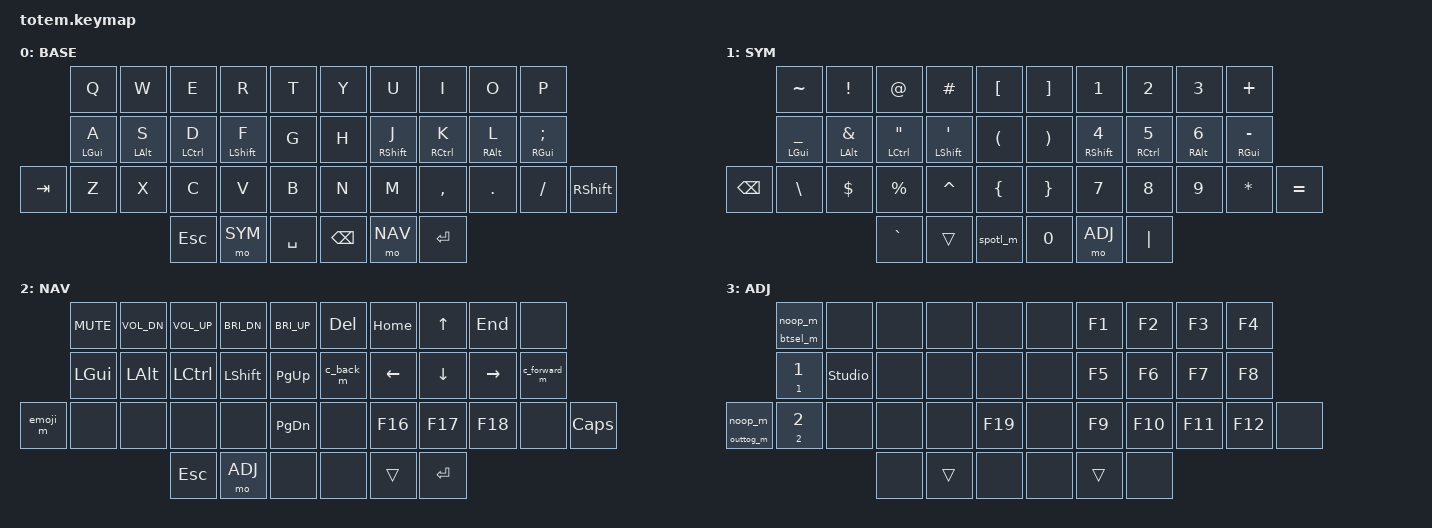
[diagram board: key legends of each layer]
#include <behaviors.dtsi>
#include <dt-bindings/zmk/bt.h>
#include <dt-bindings/zmk/keys.h>
#include <dt-bindings/zmk/outputs.h>

#define BASE 0
#define SYM  1
#define NAV  2
#define ADJ  3

&mt {
    flavor = "tap-preferred";
    tapping-term-ms = <250>;
    require-prior-idle-ms = <125>;
};

/ {
	macros {
		c_back_m: c_back_m {
			compatible = "zmk,behavior-macro";
			#binding-cells = <0>;
			bindings
				= <&macro_press   &kp LCTRL>
				, <&macro_tap     &kp MINUS>
				, <&macro_release &kp LCTRL>
				;
		};
		c_forward_m: c_forward_m {
			compatible = "zmk,behavior-macro";
			#binding-cells = <0>;
			bindings
				= <&macro_press   &kp LCTRL &kp LSHFT>
				, <&macro_tap     &kp MINUS>
				, <&macro_release &kp LSHFT &kp LCTRL>
				;
		};
		spotl_m: spotl_m {
			compatible = "zmk,behavior-macro";
			#binding-cells = <0>;
			bindings 
				= <&macro_press   &kp LGUI>
				, <&macro_tap     &kp SPACE>
				, <&macro_release &kp LGUI>
				;
		};
		emoji_m: emoji_m {
			compatible = "zmk,behavior-macro";
			#binding-cells = <0>;
			bindings
				= <&macro_press   &kp LCTRL &kp LGUI>
				, <&macro_tap     &kp SPACE>
				, <&macro_release &kp LCTRL &kp LGUI>
				;
		};
		noop_m: noop_m {
			compatible = "zmk,behavior-macro";
			#binding-cells = <0>;
			bindings = <&none>;
		};
		btclr_m: btclr_m {
			compatible = "zmk,behavior-macro";
			#binding-cells = <0>;
			bindings = <&bt BT_CLR>;
		};
		btsel_m: btsel_m {
			compatible = "zmk,behavior-macro-one-param";
			#binding-cells = <1>;
			bindings
				= <&macro_param_1to2>
				, <&bt BT_SEL MACRO_PLACEHOLDER>
				;
		};
		outtog_m: outtog_m {
			compatible = "zmk,behavior-macro";
			#binding-cells = <0>;
			bindings = <&out OUT_TOG>;
		};
		soft_off_m: soft_off_m {
			compatible = "zmk,behavior-macro";
			#binding-cells = <0>;
			bindings = <&soft_off>;
		};
	};

	behaviors {
		btclr_ht: btclr_ht {
			compatible = "zmk,behavior-hold-tap";
			#binding-cells = <2>;
			tapping-term-ms = <3000>;
			flavor = "tap-preferred";
			bindings = <&btclr_m>, <&noop_m>;
		};
		btsel_ht: btsel_ht {
			compatible = "zmk,behavior-hold-tap";
			#binding-cells = <2>;
			tapping-term-ms = <3000>;
			flavor = "tap-preferred";
			bindings = <&btsel_m>, <&noop_m>;
		};
		outtog_ht: outtog_ht {
			compatible = "zmk,behavior-hold-tap";
			#binding-cells = <2>;
			tapping-term-ms = <3000>;
			flavor = "tap-preferred";
			bindings = <&outtog_m>, <&noop_m>;
		};
		soft_off_ht: soft_off_ht {
			compatible = "zmk,behavior-hold-tap";
			#binding-cells = <2>;
			tapping-term-ms = <3000>;
			flavor = "tap-preferred";
			bindings = <&soft_off_m>, <&noop_m>;
		};
	};

	combos{
		compatible = "zmk,combos";
		combo_soft_off {
			timeout-ms = <400>;
			key-positions = <14 15>;    /* G + H */
			bindings = <&soft_off_ht N0 N0>;
			slow-release;
			layers = <ADJ>;
		};
		combo_btclr{
			timeout-ms = <50>;
			key-positions = <3 4>;     /* R + T */
			bindings = <&btclr_ht N0 N0>;
			slow-release;
			layers = <ADJ>;
		};
	};
	
    keymap {
        compatible = "zmk,keymap";
// ▄▄▄▄▄▄▄▄▄▄▄▄▄▄▄▄▄▄▄▄▄▄▄▄▄▄▄▄▄▄▄▄▄▄▄▄▄▄▄▄▄▄▄▄▄▄▄▄▄▄▄▄▄▄▄▄▄▄▄▄▄▄▄▄▄▄▄▄▄▄▄▄▄▄▄▄▄▄▄▄▄▄▄▄▄▄▄▄▄▄▄▄▄▄▄▄▄▄▄▄▄▄▄▄▄▄▄▄▄▄▄▄▄▄▄▄▄▄▄▄▄▄▄▄▄▄▄▄▄▄▄▄▄▄▄▄▄▄▄▄▄▄▄▄▄▄▄▄▄▄▄▄▄▄▄▄▄▄▄▄▄▄▄▄▄

        base_layer {
// ┏━━━━━━━━━━━━━━━━━━━━━━━━━━━━━━━━━━━━━━━┓
            label= "BASE";
// ┗━━━━━━━━━━━━━━━━━━━━━━━━━━━━━━━━━━━━━━━┛
//             ┏━━━━━━━━━━━┳━━━━━━━━━━━┳━━━━━━━━━━━┳━━━━━━━━━━━━┳━━━━━━━━━━━┓   ┏━━━━━━━━━━━┳━━━━━━━━━━━━┳━━━━━━━━━━━┳━━━━━━━━━━━┳━━━━━━━━━━━━━┓
//             ┃     Q     ┃     W     ┃     E     ┃     R      ┃     T     ┃   ┃     Y     ┃     U      ┃     I     ┃     O     ┃      P      ┃
//             ┣━━━━━━━━━━━╋━━━━━━━━━━━╋━━━━━━━━━━━╋━━━━━━━━━━━━╋━━━━━━━━━━━┫   ┣━━━━━━━━━━━╋━━━━━━━━━━━━╋━━━━━━━━━━━╋━━━━━━━━━━━╋━━━━━━━━━━━━━┫
//             ┃     A     ┃     S     ┃     D     ┃     F      ┃     G     ┃   ┃     H     ┃     J      ┃     K     ┃     L     ┃     ; :     ┃
// ┏━━━━━━━━━━━╋━━━━━━━━━━━╋━━━━━━━━━━━╋━━━━━━━━━━━╋━━━━━━━━━━━━╋━━━━━━━━━━━┫   ┣━━━━━━━━━━━╋━━━━━━━━━━━━╋━━━━━━━━━━━╋━━━━━━━━━━━╋━━━━━━━━━━━━━╋━━━━━━━━━━━┓
// ┃    TAB    ┃     Z     ┃     X     ┃     C     ┃     V      ┃     B     ┃   ┃     N     ┃     M      ┃    , <    ┃    . >    ┃     / ?     ┃   SHIFT   ┃
// ┗━━━━━━━━━━━┻━━━━━━━━━━━┻━━━━━━━━━━━╋━━━━━━━━━━━╋━━━━━━━━━━━━╋━━━━━━━━━━━┫   ┣━━━━━━━━━━━╋━━━━━━━━━━━━╋━━━━━━━━━━━╋━━━━━━━━━━━┻━━━━━━━━━━━━━┻━━━━━━━━━━━┛
//                                     ┃    ESC    ┃    SYM     ┃    SPC    ┃   ┃   BSPC    ┃    NAV     ┃    RET    ┃
//                                     ┗━━━━━━━━━━━┻━━━━━━━━━━━━┻━━━━━━━━━━━┛   ┗━━━━━━━━━━━┻━━━━━━━━━━━━┻━━━━━━━━━━━┛
            bindings = <
// ╷           ╷           ╷           ╷           ╷            ╷           ╷   ╷           ╷            ╷           ╷           ╷             ╷           ╷
                &kp Q       &kp W       &kp E       &kp R        &kp T           &kp Y       &kp U        &kp I       &kp O       &kp P       
                &mt LGUI A  &mt LALT S  &mt LCTRL D &mt LSHIFT F &kp G           &kp H       &mt RSHIFT J &mt RCTRL K &mt RALT L  &mt RGUI SEMI    
    &kp TAB     &kp Z       &kp X       &kp C       &kp V        &kp B           &kp N       &kp M        &kp COMMA   &kp DOT     &kp FSLH      &kp RSHIFT
                                        &kp ESC     &mo SYM      &kp SPACE       &kp BSPC    &mo NAV      &kp RET
            >;
        };

// ▄▄▄▄▄▄▄▄▄▄▄▄▄▄▄▄▄▄▄▄▄▄▄▄▄▄▄▄▄▄▄▄▄▄▄▄▄▄▄▄▄▄▄▄▄▄▄▄▄▄▄▄▄▄▄▄▄▄▄▄▄▄▄▄▄▄▄▄▄▄▄▄▄▄▄▄▄▄▄▄▄▄▄▄▄▄▄▄▄▄▄▄▄▄▄▄▄▄▄▄▄▄▄▄▄▄▄▄▄▄▄▄▄▄▄▄▄▄▄▄▄▄▄▄▄▄▄▄▄▄▄▄▄▄▄▄▄▄▄▄▄▄▄▄▄▄▄▄▄▄▄▄▄▄▄▄▄▄▄▄▄▄▄▄▄

        sym_layer {
// ┏━━━━━━━━━━━━━━━━━━━━━━━━━━━━━━━━━━━━━━━┓
            label= "SYM";
// ┗━━━━━━━━━━━━━━━━━━━━━━━━━━━━━━━━━━━━━━━┛
//             ┏━━━━━━━━━━━━━━┳━━━━━━━━━━━━━┳━━━━━━━━━━━━━┳━━━━━━━━━━━━━━┳━━━━━━━━━━━┓   ┏━━━━━━━━━━━┳━━━━━━━━━━━━━┳━━━━━━━━━━━━━━┳━━━━━━━━━━━┳━━━━━━━━━━━━━━┓
//             ┃      ~       ┃      !      ┃      @      ┃      #       ┃     [     ┃   ┃     ]     ┃      1      ┃      2       ┃     3     ┃      +       ┃
//             ┣━━━━━━━━━━━━━━╋━━━━━━━━━━━━━╋━━━━━━━━━━━━━╋━━━━━━━━━━━━━━╋━━━━━━━━━━━┫   ┣━━━━━━━━━━━╋━━━━━━━━━━━━━╋━━━━━━━━━━━━━━╋━━━━━━━━━━━╋━━━━━━━━━━━━━━┫
//             ┃      _       ┃      &      ┃      "      ┃      '       ┃     (     ┃   ┃     )     ┃      4      ┃      5       ┃     6     ┃      -       ┃
// ┏━━━━━━━━━━━╋━━━━━━━━━━━━━━╋━━━━━━━━━━━━━╋━━━━━━━━━━━━━╋━━━━━━━━━━━━━━╋━━━━━━━━━━━┫   ┣━━━━━━━━━━━╋━━━━━━━━━━━━━╋━━━━━━━━━━━━━━╋━━━━━━━━━━━╋━━━━━━━━━━━━━━╋━━━━━━━━━━━┓
// ┃    BSPC   ┃      \       ┃      $      ┃      %      ┃      ^       ┃     {     ┃   ┃     }     ┃      7      ┃      8       ┃     9     ┃      *       ┃     =     ┃
// ┗━━━━━━━━━━━┻━━━━━━━━━━━━━━┻━━━━━━━━━━━━━╋━━━━━━━━━━━━━╔══════════════╗━━━━━━━━━━━┫   ┣━━━━━━━━━━━╋━━━━━━━━━━━━━╋━━━━━━━━━━━━━━╋━━━━━━━━━━━┻━━━━━━━━━━━━━━┻━━━━━━━━━━━┛
//                                          ┃      `      ║      SYM     ║    SPTL   ┃   ┃     0     ┃     ADJ     ┃      |       ┃
//                                          ┗━━━━━━━━━━━━━╚══════════════╝━━━━━━━━━━━┛   ┗━━━━━━━━━━━┻━━━━━━━━━━━━━┻━━━━━━━━━━━━━━┛
            bindings = <
// ╷           ╷              ╷             ╷             ╷              ╷           ╷   ╷           ╷             ╷              ╷           ╷              ╷           ╷
                &kp TILDE      &kp EXCL      &kp AT        &kp HASH       &kp LBKT        &kp RBKT    &kp N1        &kp N2         &kp N3      &kp PLUS     
                &mt LGUI UNDER &mt LALT AMPS &mt LCTRL DQT &mt LSHIFT SQT &kp LPAR        &kp RPAR    &mt RSHIFT N4 &mt RCTRL N5   &mt RALT N6 &mt RGUI MINUS 
    &kp BSPC    &kp BSLH       &kp DLLR      &kp PRCNT     &kp CARET      &kp LBRC        &kp RBRC    &kp N7        &kp N8         &kp N9      &kp ASTRK      &kp EQUAL
                                             &kp GRAVE     &trans         &spotl_m           &kp N0      &mo ADJ       &kp PIPE
            >;
        };

// ▄▄▄▄▄▄▄▄▄▄▄▄▄▄▄▄▄▄▄▄▄▄▄▄▄▄▄▄▄▄▄▄▄▄▄▄▄▄▄▄▄▄▄▄▄▄▄▄▄▄▄▄▄▄▄▄▄▄▄▄▄▄▄▄▄▄▄▄▄▄▄▄▄▄▄▄▄▄▄▄▄▄▄▄▄▄▄▄▄▄▄▄▄▄▄▄▄▄▄▄▄▄▄▄▄▄▄▄▄▄▄▄▄▄▄▄▄▄▄▄▄▄▄▄▄▄▄▄▄▄▄▄▄▄▄▄▄▄▄▄▄▄▄▄▄▄▄▄▄▄▄▄▄▄▄▄▄▄▄▄▄▄▄▄▄

        nav_layer {
// ┏━━━━━━━━━━━━━━━━━━━━━━━━━━━━━━━━━━━━━━━┓
            label= "NAV";
// ┗━━━━━━━━━━━━━━━━━━━━━━━━━━━━━━━━━━━━━━━┛
//             ┏━━━━━━━━━━━┳━━━━━━━━━━━━┳━━━━━━━━━━━━┳━━━━━━━━━━━━┳━━━━━━━━━━━━┓   ┏━━━━━━━━━━━━┳━━━━━━━━━━━━┳━━━━━━━━━━━┳━━━━━━━━━━━━┳━━━━━━━━━━━━┓
//             ┃    MUTE   ┃    VOL-    ┃    VOL+    ┃    BRI-    ┃    BRI+    ┃   ┃     DEL    ┃    HOME    ┃     UP    ┃     END    ┃            ┃
//             ┣━━━━━━━━━━━╋━━━━━━━━━━━━╋━━━━━━━━━━━━╋━━━━━━━━━━━━╋━━━━━━━━━━━━┫   ┣━━━━━━━━━━━━╋━━━━━━━━━━━━╋━━━━━━━━━━━╋━━━━━━━━━━━━╋━━━━━━━━━━━━┫
//             ┃    GUI    ┃    ALT     ┃    CTRL    ┃    SHIFT   ┃    PGUP    ┃   ┃    CBACK   ┃    LEFT    ┃    DOWN   ┃    RIGHT   ┃  CFORWARD  ┃
// ┏━━━━━━━━━━━╋━━━━━━━━━━━╋━━━━━━━━━━━━╋━━━━━━━━━━━━╋━━━━━━━━━━━━╋━━━━━━━━━━━━┫   ┣━━━━━━━━━━━━╋━━━━━━━━━━━━╋━━━━━━━━━━━╋━━━━━━━━━━━━╋━━━━━━━━━━━━╋━━━━━━━━━━━┓
// ┃   EMOJI   ┃           ┃            ┃            ┃            ┃    PGDWN   ┃   ┃            ┃    F16     ┃    F17    ┃    F18     ┃            ┃ CAPSLOCK  ┃
// ┗━━━━━━━━━━━┻━━━━━━━━━━━┻━━━━━━━━━━━━╋━━━━━━━━━━━━╋━━━━━━━━━━━━╋━━━━━━━━━━━━┫   ┣━━━━━━━━━━━━╔════════════╗━━━━━━━━━━━╋━━━━━━━━━━━━┻━━━━━━━━━━━━┻━━━━━━━━━━━┛
//                                      ┃     ESC    ┃     ADJ    ┃            ┃   ┃            ║    NAV     ║    RET    ┃
//                                      ┗━━━━━━━━━━━━┻━━━━━━━━━━━━┻━━━━━━━━━━━━┛   ┗━━━━━━━━━━━━╚════════════╝━━━━━━━━━━━┛
            bindings = <
// ╷           ╷           ╷            ╷            ╷            ╷            ╷   ╷            ╷            ╷           ╷            ╷            ╷           ╷
                &kp C_MUTE  &kp C_VOL_DN &kp C_VOL_UP &kp C_BRI_DN &kp C_BRI_UP    &kp DEL       &kp HOME     &kp UP      &kp END      &none       
                &kp LGUI    &kp LALT     &kp LCTRL    &kp LSHIFT   &kp PG_UP       &c_back_m     &kp LEFT     &kp DOWN    &kp RIGHT    &c_forward_m     
    &emoji_m    &none       &none        &none        &none        &kp PG_DN       &none         &kp F16      &kp F17     &kp F18      &none        &kp CAPS
                                         &kp ESC      &mo ADJ      &none           &none         &trans       &kp RET  
            >;
        };

// ▄▄▄▄▄▄▄▄▄▄▄▄▄▄▄▄▄▄▄▄▄▄▄▄▄▄▄▄▄▄▄▄▄▄▄▄▄▄▄▄▄▄▄▄▄▄▄▄▄▄▄▄▄▄▄▄▄▄▄▄▄▄▄▄▄▄▄▄▄▄▄▄▄▄▄▄▄▄▄▄▄▄▄▄▄▄▄▄▄▄▄▄▄▄▄▄▄▄▄▄▄▄▄▄▄▄▄▄▄▄▄▄▄▄▄▄▄▄▄▄▄▄▄▄▄▄▄▄▄▄▄▄▄▄▄▄▄▄▄▄▄▄▄▄▄▄▄▄▄▄▄▄▄▄▄▄▄▄▄▄▄▄▄▄▄

        adj_layer {
// ┏━━━━━━━━━━━━━━━━━━━━━━━━━━━━━━━━━━━━━━━┓
            label= "ADJ";
// ┗━━━━━━━━━━━━━━━━━━━━━━━━━━━━━━━━━━━━━━━┛
//                ┏━━━━━━━━━━━━━┳━━━━━━━━━━━━━━┳━━━━━━━━━━━┳━━━━━━━━━━━┳━━━━━━━━━━━┓   ┏━━━━━━━━━━━┳━━━━━━━━━━━┳━━━━━━━━━━━┳━━━━━━━━━━━┳━━━━━━━━━━━┓
//                ┃     BT0     ┃              ┃           ┃   BTCLR   ┃   BTCLR   ┃   ┃           ┃    F1     ┃    F2     ┃    F3     ┃    F4     ┃
//                ┣━━━━━━━━━━━━━╋━━━━━━━━━━━━━━╋━━━━━━━━━━━╋━━━━━━━━━━━╋━━━━━━━━━━━┫   ┣━━━━━━━━━━━╋━━━━━━━━━━━╋━━━━━━━━━━━╋━━━━━━━━━━━╋━━━━━━━━━━━┫
//                ┃     BT1     ┃    STUDIO    ┃           ┃           ┃  PWROFF   ┃   ┃  PWROFF   ┃    F5     ┃    F6     ┃    F7     ┃    F8     ┃
// ┏━━━━━━━━━━━━━━╋━━━━━━━━━━━━━╋━━━━━━━━━━━━━━╋━━━━━━━━━━━╋━━━━━━━━━━━╋━━━━━━━━━━━┫   ┣━━━━━━━━━━━╋━━━━━━━━━━━╋━━━━━━━━━━━╋━━━━━━━━━━━╋━━━━━━━━━━━╋━━━━━━━━━━━┓
// ┃    TOGOUT    ┃     BT2     ┃              ┃           ┃           ┃    F19    ┃   ┃           ┃    F9     ┃    F10    ┃    F11    ┃    F12    ┃           ┃
// ┗━━━━━━━━━━━━━━┻━━━━━━━━━━━━━┻━━━━━━━━━━━━━━╋━━━━━━━━━━━╔═══════════╗━━━━━━━━━━━┫   ┣━━━━━━━━━━━╔═══════════╗━━━━━━━━━━━╋━━━━━━━━━━━┻━━━━━━━━━━━┻━━━━━━━━━━━┛
//                                             ┃           ║    NAV    ║           ┃   ┃           ║    SYM    ║           ┃
//                                             ┗━━━━━━━━━━━╚═══════════╝━━━━━━━━━━━┛   ┗━━━━━━━━━━━╚═══════════╝━━━━━━━━━━━┛
            bindings = <
// ╷              ╷             ╷              ╷           ╷           ╷           ╷   ╷           ╷           ╷           ╷           ╷           ╷           ╷
                   &btsel_ht 0 0 &none          &none       &none       &none           &none       &kp F1      &kp F2      &kp F3      &kp F4
                   &btsel_ht 1 1 &studio_unlock &none       &none       &none           &none       &kp F5      &kp F6      &kp F7      &kp F8
    &outtog_ht 0 0 &btsel_ht 2 2 &none          &none       &none       &kp F19         &none       &kp F9      &kp F10     &kp F11     &kp F12     &none
                                                &none       &trans      &none           &none       &trans      &none
            >;
        };
		
// ▄▄▄▄▄▄▄▄▄▄▄▄▄▄▄▄▄▄▄▄▄▄▄▄▄▄▄▄▄▄▄▄▄▄▄▄▄▄▄▄▄▄▄▄▄▄▄▄▄▄▄▄▄▄▄▄▄▄▄▄▄▄▄▄▄▄▄▄▄▄▄▄▄▄▄▄▄▄▄▄▄▄▄▄▄▄▄▄▄▄▄▄▄▄▄▄▄▄▄▄▄▄▄▄▄▄▄▄▄▄▄▄▄▄▄▄▄▄▄▄▄▄▄▄▄▄▄▄▄▄▄▄▄▄▄▄▄▄▄▄▄▄▄▄▄▄▄▄▄▄▄▄▄▄▄▄▄▄▄▄▄▄▄▄▄
    };
};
